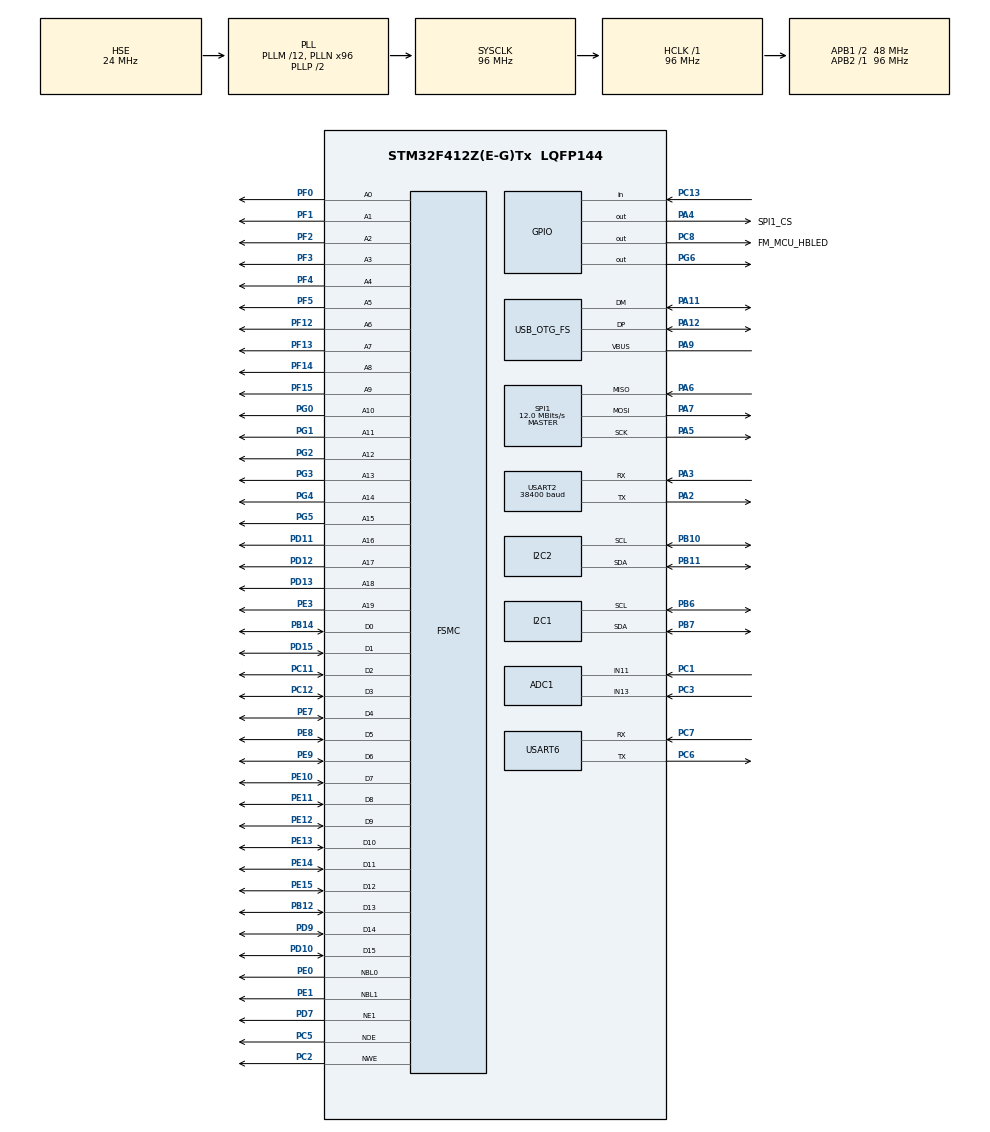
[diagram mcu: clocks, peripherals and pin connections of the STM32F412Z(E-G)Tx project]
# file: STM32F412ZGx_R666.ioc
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ADC1.Channel-0\#ChannelRegularConversion=ADC_CHANNEL_11
ADC1.NbrOfConversionFlag=1
ADC1.Rank-0\#ChannelRegularConversion=1
ADC1.SamplingTime-0\#ChannelRegularConversion=ADC_SAMPLETIME_3CYCLES
ADC1.master=1
FATFS._MAX_SS=4096
FATFS._MIN_SS=512
FATFS._USE_LFN=2
FATFS._VOLUMES=2
Mcu.Family=STM32F4
Mcu.Name=STM32F412Z(E-G)Tx
Mcu.Package=LQFP144
NVIC.OTG_FS_IRQn=true\:0\:0\:false\:false\:true\:false
NVIC.PriorityGroup=NVIC_PRIORITYGROUP_4
NVIC.TIM1_UP_TIM10_IRQn=true\:0\:0\:false\:false\:true\:false
NVIC.TIM3_IRQn=true\:0\:0\:false\:false\:true\:true
NVIC.TimeBase=TIM1_UP_TIM10_IRQn
NVIC.TimeBaseIP=TIM1
PA0.Mode=SYS_WakeUp0
PA0.Signal=SYS_WKUP1
PA11.Mode=Host_Only
PA11.Signal=USB_OTG_FS_DM
PA12.Mode=Host_Only
PA12.Signal=USB_OTG_FS_DP
PA13.Mode=Serial_Wire
PA13.Signal=SYS_JTMS-SWDIO
PA14.Mode=Serial_Wire
PA14.Signal=SYS_JTCK-SWCLK
PA2.Mode=Asynchronous
PA2.Signal=USART2_TX
PA3.Mode=Asynchronous
PA3.Signal=USART2_RX
PA4.GPIO_Label=SPI1_CS
PA4.PinState=GPIO_PIN_SET
PA4.Signal=GPIO_Output
PA5.Mode=Full_Duplex_Master
PA5.Signal=SPI1_SCK
PA6.Mode=Full_Duplex_Master
PA6.Signal=SPI1_MISO
PA7.Mode=Full_Duplex_Master
PA7.Signal=SPI1_MOSI
PA9.Mode=Activate_VBUS
PA9.Signal=USB_OTG_FS_VBUS
PB10.Mode=I2C
PB10.Signal=I2C2_SCL
PB11.Mode=I2C
PB11.Signal=I2C2_SDA
PB12.Signal=FSMC_D13_DA13
PB14.Signal=FSMC_D0_DA0
PB6.Mode=I2C
PB6.Signal=I2C1_SCL
PB7.Mode=I2C
PB7.Signal=I2C1_SDA
PC1.Signal=ADCx_IN11
PC11.Signal=FSMC_D2_DA2
PC12.Signal=FSMC_D3_DA3
PC13.Signal=GPIO_Input
PC14-OSC32_IN.Mode=LSE-External-Oscillator
PC14-OSC32_IN.Signal=RCC_OSC32_IN
PC15-OSC32_OUT.Mode=LSE-External-Oscillator
PC15-OSC32_OUT.Signal=RCC_OSC32_OUT
PC2.Signal=FSMC_NWE
PC3.Signal=ADCx_IN13
PC5.Signal=FSMC_NOE
PC6.Mode=Asynchronous
PC6.Signal=USART6_TX
PC7.Mode=Asynchronous
PC7.Signal=USART6_RX
PC8.GPIO_Label=FM_MCU_HBLED
PC8.Signal=GPIO_Output
PD10.Signal=FSMC_D15_DA15
PD11.Signal=FSMC_A16
PD12.Signal=FSMC_A17
PD13.Signal=FSMC_A18
PD15.Signal=FSMC_D1_DA1
PD7.Mode=NorPsramChipSelect1_1
PD7.Signal=FSMC_NE1
PD9.Signal=FSMC_D14_DA14
PE0.Signal=FSMC_NBL0
PE1.Signal=FSMC_NBL1
PE10.Signal=FSMC_D7_DA7
PE11.Signal=FSMC_D8_DA8
PE12.Signal=FSMC_D9_DA9
PE13.Signal=FSMC_D10_DA10
PE14.Signal=FSMC_D11_DA11
PE15.Signal=FSMC_D12_DA12
PE3.Signal=FSMC_A19
PE7.Signal=FSMC_D4_DA4
PE8.Signal=FSMC_D5_DA5
PE9.Signal=FSMC_D6_DA6
PF0.Signal=FSMC_A0
PF1.Signal=FSMC_A1
PF12.Signal=FSMC_A6
PF13.Signal=FSMC_A7
PF14.Signal=FSMC_A8
PF15.Signal=FSMC_A9
PF2.Signal=FSMC_A2
PF3.Signal=FSMC_A3
PF4.Signal=FSMC_A4
PF5.Signal=FSMC_A5
PG0.Signal=FSMC_A10
PG1.Signal=FSMC_A11
PG2.Signal=FSMC_A12
PG3.Signal=FSMC_A13
PG4.Signal=FSMC_A14
PG5.Signal=FSMC_A15
PG6.Signal=GPIO_Output
PH0\ -\ OSC_IN.Mode=HSE-External-Oscillator
PH0\ -\ OSC_IN.Signal=RCC_OSC_IN
PH1\ -\ OSC_OUT.Mode=HSE-External-Oscillator
PH1\ -\ OSC_OUT.Signal=RCC_OSC_OUT
ProjectManager.HeapSize=0x2000
ProjectManager.StackSize=0x2000
ProjectManager.TargetToolchain=SW4STM32
RCC.AHBFreq_Value=96000000
RCC.APB1CLKDivider=RCC_HCLK_DIV2
RCC.APB1Freq_Value=48000000
RCC.APB1TimFreq_Value=96000000
RCC.APB2Freq_Value=96000000
RCC.APB2TimFreq_Value=96000000
RCC.CortexFreq_Value=96000000
RCC.HCLKFreq_Value=96000000
RCC.HSE_VALUE=24000000
RCC.PLLI2SM=12
RCC.PLLI2SN=72
RCC.PLLI2SQ=3
RCC.PLLM=12
RCC.PLLN=96
RCC.PLLQ=4
RCC.PLLSourceVirtual=RCC_PLLSOURCE_HSE
RCC.RCC_RTC_Clock_Source=RCC_RTCCLKSOURCE_LSE
RCC.RCC_RTC_Clock_SourceVirtual=RCC_RTCCLKSOURCE_LSE
RCC.SYSCLKFreq_VALUE=96000000
RCC.SYSCLKSource=RCC_SYSCLKSOURCE_PLLCLK
RCC.USBCLockSelection=RCC_CLK48CLKSOURCE_PLLI2SQ
RCC.USBFreq_Value=48000000
RCC.VCOOutputFreq_Value=192000000
RTC.Date=5
RTC.Hours=17
RTC.Month=RTC_MONTH_FEBRUARY
RTC.WeekDay=RTC_WEEKDAY_WEDNESDAY
RTC.Year=20
SH.ADCx_IN11.0=ADC1_IN11,IN11
SH.ADCx_IN13.0=ADC1_IN13,IN13
SH.FSMC_A0.0=FSMC_A0,20b-a1
SH.FSMC_A1.0=FSMC_A1,20b-a1
SH.FSMC_A10.0=FSMC_A10,20b-a1
SH.FSMC_A11.0=FSMC_A11,20b-a1
SH.FSMC_A12.0=FSMC_A12,20b-a1
SH.FSMC_A13.0=FSMC_A13,20b-a1
SH.FSMC_A14.0=FSMC_A14,20b-a1
SH.FSMC_A15.0=FSMC_A15,20b-a1
SH.FSMC_A16.0=FSMC_A16,20b-a1
SH.FSMC_A17.0=FSMC_A17,20b-a1
SH.FSMC_A18.0=FSMC_A18,20b-a1
SH.FSMC_A19.0=FSMC_A19,20b-a1
SH.FSMC_A2.0=FSMC_A2,20b-a1
SH.FSMC_A3.0=FSMC_A3,20b-a1
SH.FSMC_A4.0=FSMC_A4,20b-a1
SH.FSMC_A5.0=FSMC_A5,20b-a1
SH.FSMC_A6.0=FSMC_A6,20b-a1
SH.FSMC_A7.0=FSMC_A7,20b-a1
SH.FSMC_A8.0=FSMC_A8,20b-a1
SH.FSMC_A9.0=FSMC_A9,20b-a1
SH.FSMC_D0_DA0.0=FSMC_D0,16b-d1
SH.FSMC_D10_DA10.0=FSMC_D10,16b-d1
SH.FSMC_D11_DA11.0=FSMC_D11,16b-d1
SH.FSMC_D12_DA12.0=FSMC_D12,16b-d1
SH.FSMC_D13_DA13.0=FSMC_D13,16b-d1
SH.FSMC_D14_DA14.0=FSMC_D14,16b-d1
SH.FSMC_D15_DA15.0=FSMC_D15,16b-d1
SH.FSMC_D1_DA1.0=FSMC_D1,16b-d1
SH.FSMC_D2_DA2.0=FSMC_D2,16b-d1
SH.FSMC_D3_DA3.0=FSMC_D3,16b-d1
SH.FSMC_D4_DA4.0=FSMC_D4,16b-d1
SH.FSMC_D5_DA5.0=FSMC_D5,16b-d1
SH.FSMC_D6_DA6.0=FSMC_D6,16b-d1
SH.FSMC_D7_DA7.0=FSMC_D7,16b-d1
SH.FSMC_D8_DA8.0=FSMC_D8,16b-d1
SH.FSMC_D9_DA9.0=FSMC_D9,16b-d1
SH.FSMC_NBL0.0=FSMC_NBL0,2ByteEnable1
SH.FSMC_NBL1.0=FSMC_NBL1,2ByteEnable1
SH.FSMC_NOE.0=FSMC_NOE,Sram1
SH.FSMC_NWE.0=FSMC_NWE,Sram1
SPI1.BaudRatePrescaler=SPI_BAUDRATEPRESCALER_8
SPI1.CalculateBaudRate=12.0 MBits/s
SPI1.Direction=SPI_DIRECTION_2LINES
SPI1.Mode=SPI_MODE_MASTER
SPI1.VirtualType=VM_MASTER
TIM3.Period=300-1
TIM3.Prescaler=32000-1
USART2.BaudRate=38400
USART2.OverSampling=UART_OVERSAMPLING_8
USART2.VirtualMode=VM_ASYNC
USART6.VirtualMode=VM_ASYNC
USB_HOST.BSP.number=1
USB_HOST.USBH_HandleTypeDef=hUsbHostFS
USB_HOST.USBH_MAX_DATA_BUFFER=2048
USB_HOST.VirtualModeFS=Msc
USB_HOST0.BSP.STBoard=false
USB_HOST0.BSP.api=UnknownBspDriver
USB_HOST0.BSP.i2caddr=0
USB_HOST0.BSP.i2creg=0
USB_HOST0.BSP.instance=PG6
USB_HOST0.BSP.ip=GPIO
USB_HOST0.BSP.mode=Output
USB_HOST0.BSP.name=Drive_VBUS_FS
USB_HOST0.BSP.solution=PG6
USB_OTG_FS.Sof_enable=DISABLE
USB_OTG_FS.VirtualMode=Host_Only
USB_OTG_FS.dma_enable=DISABLE
USB_OTG_FS.phy_itface=HCD_PHY_EMBEDDED
VP_FATFS_VS_USB.Mode=USB
VP_RTC_VS_RTC_Activate.Mode=RTC_Enabled
VP_RTC_VS_RTC_Calendar.Mode=RTC_Calendar
VP_SYS_VS_tim1.Mode=TIM1
VP_TIM3_VS_ClockSourceINT.Mode=Internal
VP_USB_HOST_VS_USB_HOST_MSC_FS.Mode=MSC_FS
board=STM32F412ZGx_R666

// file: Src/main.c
/**
  ******************************************************************************
  * @file           : main.c
  * @brief          : Main program body
  ******************************************************************************
  * This notice applies to any and all portions of this file
  * that are not between comment pairs USER CODE BEGIN and
  * USER CODE END. Other portions of this file, whether
  * inserted by the user or by software development tools
  * are owned by their respective copyright owners.
  *
  * Copyright (c) 2020 STMicroelectronics International N.V.
  * All rights reserved.
  *
  * Redistribution and use in source and binary forms, with or without
  * modification, are permitted, provided that the following conditions are met:
  *
  * 1. Redistribution of source code must retain the above copyright notice,
  *    this list of conditions and the following disclaimer.
  * 2. Redistributions in binary form must reproduce the above copyright notice,
  *    this list of conditions and the following disclaimer in the documentation
  *    and/or other materials provided with the distribution.
  * 3. Neither the name of STMicroelectronics nor the names of other
  *    contributors to this software may be used to endorse or promote products
  *    derived from this software without specific written permission.
  * 4. This software, including modifications and/or derivative works of this
  *    software, must execute solely and exclusively on microcontroller or
  *    microprocessor devices manufactured by or for STMicroelectronics.
  * 5. Redistribution and use of this software other than as permitted under
  *    this license is void and will automatically terminate your rights under
  *    this license.
  *
  * THIS SOFTWARE IS PROVIDED BY STMICROELECTRONICS AND CONTRIBUTORS "AS IS"
  * AND ANY EXPRESS, IMPLIED OR STATUTORY WARRANTIES, INCLUDING, BUT NOT
  * LIMITED TO, THE IMPLIED WARRANTIES OF MERCHANTABILITY, FITNESS FOR A
  * PARTICULAR PURPOSE AND NON-INFRINGEMENT OF THIRD PARTY INTELLECTUAL PROPERTY
  * RIGHTS ARE DISCLAIMED TO THE FULLEST EXTENT PERMITTED BY LAW. IN NO EVENT
  * SHALL STMICROELECTRONICS OR CONTRIBUTORS BE LIABLE FOR ANY DIRECT, INDIRECT,
  * INCIDENTAL, SPECIAL, EXEMPLARY, OR CONSEQUENTIAL DAMAGES (INCLUDING, BUT NOT
  * LIMITED TO, PROCUREMENT OF SUBSTITUTE GOODS OR SERVICES; LOSS OF USE, DATA,
  * OR PROFITS; OR BUSINESS INTERRUPTION) HOWEVER CAUSED AND ON ANY THEORY OF
  * LIABILITY, WHETHER IN CONTRACT, STRICT LIABILITY, OR TORT (INCLUDING
  * NEGLIGENCE OR OTHERWISE) ARISING IN ANY WAY OUT OF THE USE OF THIS SOFTWARE,
  * EVEN IF ADVISED OF THE POSSIBILITY OF SUCH DAMAGE.
  *
  ******************************************************************************
  */
#include "main.h"
#include "stm32f4xx_hal.h"
#include "adc.h"
#include "fatfs.h"
#include "i2c.h"
#include "rtc.h"
#include "spi.h"
#include "tim.h"
#include "usart.h"
#include "usb_host.h"
#include "gpio.h"
#include "fsmc.h"

/* USER CODE BEGIN Includes */
#include <stdarg.h>
/* USER CODE END Includes */

/* USER CODE BEGIN PV */

/* Private define  ---------------------------------------------------------*/

/* Private variables ---------------------------------------------------------*/
extern ApplicationTypeDef Appli_state;
extern volatile unsigned char time_states;

//---------------
// FPGA variables
//---------------
const uint8_t fpga_key[FPGA_KEY_SIZE] = {'A','E','W','I','N','1','6','8'};

uint8_t fpga_spi_switch = FPGA_SPI_SWITCH_OFF;
uint8_t fpga_spi_mode = FLASH_NONE;
uint8_t fpga_key_readback[FPGA_KEY_SIZE];
uint8_t fpga_info[FPGA_INFO_SIZE];
uint8_t fpga_busy_status[FPGA_BUSY_STATUS_SIZE];
uint8_t fpga_timer_switch = FPGA_TIMER_DISABLE;

//---------------
// USB variables
//---------------
uint8_t usb_read_flag = 0;    // flag to mark whether or not USB disk has been read

// information read from aewin_file.txt
uint8_t usb_cmd_code = USB_CMD_NONE;
uint8_t usb_cmd_flash_num = FLASH_NONE;
uint8_t usb_cmd_ima_filename[IMA_FILENAME_LEN_LIMIT];
uint8_t usb_cmd_re_read_flash = RE_READ_FLASH_OFF;
uint8_t usb_cmd_rtc_update[MCU_RTC_INFO_SIZE];

uint8_t usb_err_code = USB_ERR_NONE;

uint8_t backup_flag[2] = {RE_READ_FLASH_OFF, RE_READ_FLASH_OFF};

//---------------
// USB timeout variables
//---------------
extern volatile unsigned char timeout_counter;
extern unsigned char timeout_counter_switch;

//---------------
// RTC variables
//---------------
RTC_TimeTypeDef RTC_Time;
RTC_DateTypeDef RTC_Date;
uint8_t RTC_bin_format[FPGA_TIMER_SIZE] = {0};

#if AEWIN_DBUG
char dbg_buff[PRINT_BUFF];
#endif
/* USER CODE END PV */

void SystemClock_Config(void);
void MX_USB_HOST_Process(void);

/* USER CODE BEGIN PFP */
/* Private function prototypes -----------------------------------------------*/

/* USER CODE END PFP */

int main(void)
{

  /* MCU Configuration----------------------------------------------------------*/

  /* Reset of all peripherals, Initializes the Flash interface and the Systick. */
  HAL_Init();

  /* Configure the system clock */
  SystemClock_Config();

  /* Initialize all configured peripherals */
  MX_GPIO_Init();
  MX_ADC1_Init();
  MX_I2C1_Init();
  MX_I2C2_Init();
  MX_RTC_Init();
  MX_SPI1_Init();
  MX_USART2_UART_Init();
  MX_USART6_UART_Init();
  MX_USB_HOST_Init();
  MX_FATFS_Init();
  MX_FSMC_Init();
  MX_TIM3_Init();
  /* USER CODE BEGIN 2 */

	aewin_dbg("================\r\n");
	aewin_dbg("  R666 booting  \r\n");
	aewin_dbg("================\r\n");

	// print MCU firmware version
	aewin_dbg("MCU version: %d.%d.%d\r\n", VER_MAJOR, VER_MINOR, VER_PATCH);

	// print booting date and time
	HAL_RTC_GetTime(&hrtc, &RTC_Time, RTC_FORMAT_BCD);
	HAL_RTC_GetDate(&hrtc, &RTC_Date, RTC_FORMAT_BCD);
	aewin_dbg("RTC : 20%02x.%02x.%02x - %02x:%02x:%02x\r\n", RTC_Date.Year, RTC_Date.Month, RTC_Date.Date, RTC_Time.Hours, RTC_Time.Minutes, RTC_Time.Seconds);
	aewin_dbg("--------------------\r\n");

	aewin_dbg("Unlock FPGA.\r\n");
	//--------------------------------
	// Unlock FPGA key
	i2c2_fpga_write(FPGA_KEY_BASE_ADDR, FPGA_KEY_SIZE, (uint8_t*)fpga_key);

	// Read FPGA key
	i2c2_fpga_read(FPGA_KEY_BASE_ADDR, FPGA_KEY_SIZE, (uint8_t*)fpga_key_readback);

	aewin_dbg("Read FPGA information.\r\n");
	// Read FPGA information - version and time
	i2c2_fpga_read(FPGA_INFO_BASE_ADDR, FPGA_INFO_SIZE, (uint8_t*)fpga_info);
	aewin_dbg("FPGA version    : %d.%d.%d\r\n", fpga_info[0], fpga_info[1], fpga_info[2]);
	aewin_dbg("FPGA build date : 20%02d.%02d.%02d\r\n", fpga_info[5], fpga_info[4], fpga_info[3]);

	// Read FPGA Busy byte and status1 byte
	i2c2_fpga_read(FPGA_BUSY_STATUS_BASE_ADDR, FPGA_BUSY_STATUS_SIZE, (uint8_t*)fpga_busy_status);
	aewin_dbg("FPGA busy bit   : %x\r\n", fpga_busy_status[4]);
	aewin_dbg("FPGA busy status: %x %x %x\r\n", fpga_busy_status[7], fpga_busy_status[6], fpga_busy_status[5]);

	// check FPGA information. If all byte are abnormal, output error code
	if((fpga_info[5] == FPGA_DEFULT_RETURN_VALUE) && (fpga_info[6] == FPGA_DEFULT_RETURN_VALUE) && (fpga_info[7] == FPGA_DEFULT_RETURN_VALUE))
	{
		// user can not distinguish this is I2C2 failed or FPGA unlock failed.
		usb_err_code = USB_FPGA_RW_FAILED;
		aewin_dbg("Access FPGA failed.\r\n");
	}

	//--------------------------------
	// set RTC time to FPGA
	// enable FPGA SPI
	fpga_timer_switch = FPGA_TIMER_ENABLE;
	i2c2_fpga_write(FPGA_TIMER_SWITCH_ADDR, FPGA_TIMER_SWITCH_SIZE, &(fpga_timer_switch));
	aewin_dbg("Enable FPGA timer.\r\n");

	// write MCU RTC time to FPGA
	RTC_bin_format[0] = bcd2bin_byte(RTC_Time.Seconds);
	RTC_bin_format[1] = bcd2bin_byte(RTC_Time.Minutes);
	RTC_bin_format[2] = bcd2bin_byte(RTC_Time.Hours);
	RTC_bin_format[3] = bcd2bin_byte(RTC_Date.Date);
	RTC_bin_format[4] = bcd2bin_byte(RTC_Date.Month);
	RTC_bin_format[5] = bcd2bin_byte(RTC_Date.Year);
	i2c2_fpga_write(FPGA_TIMER_BASE_ADDR, FPGA_TIMER_SIZE, (uint8_t*)RTC_bin_format);
	aewin_dbg("Set RTC time to FPGA timer : 20%02d.%02d.%02d - %02d:%02d:%02d\r\n", \
			RTC_bin_format[5],RTC_bin_format[4], RTC_bin_format[3], RTC_bin_format[2], RTC_bin_format[1], RTC_bin_format[0]);

	// enable FPGA SPI
	fpga_timer_switch = FPGA_TIMER_DISABLE;
	i2c2_fpga_write(FPGA_TIMER_SWITCH_ADDR, FPGA_TIMER_SWITCH_SIZE, &(fpga_timer_switch));
	aewin_dbg("Disable FPGA timer.\r\n");
	//--------------------------------

  /*Start the TIM Base generation in interrupt mode ####################*/
    HAL_TIM_Base_Start_IT(&htim3);
  /* USER CODE END 2 */

  /* Infinite loop */
  /* USER CODE BEGIN WHILE */
    aewin_dbg("===== Enter while loop =====\r\n");
  while (1)
  {

  /* USER CODE END WHILE */
    MX_USB_HOST_Process();

  /* USER CODE BEGIN 3 */
    // set PG6 high
    //HAL_GPIO_WritePin(GPIOG, GPIO_PIN_6, GPIO_PIN_SET);

    //----------------------------------------------------------
	/*================== 1s Routine ================== */
	if (time_states & flag_1s){
		time_states &= ~flag_1s; // Clear flag.

		if(Appli_state == APPLICATION_READY)
		{
			// check FPGA busy status
			// Read FPGA Busy byte and status1 byte
			i2c2_fpga_read(FPGA_BUSY_STATUS_BASE_ADDR, FPGA_BUSY_STATUS_SIZE, (uint8_t*)fpga_busy_status);
		}

		// print RTC time
		HAL_RTC_GetTime(&hrtc, &RTC_Time, RTC_FORMAT_BCD);
		HAL_RTC_GetDate(&hrtc, &RTC_Date, RTC_FORMAT_BCD);
		aewin_dbg("RTC : 20%02x.%02x.%02x - %02x:%02x:%02x\r\n", \
				RTC_Date.Year, RTC_Date.Month, RTC_Date.Date, RTC_Time.Hours, RTC_Time.Minutes, RTC_Time.Seconds);
		aewin_dbg("----------------------------\r\n");
	}

	/*================== 500ms Routine ================== */
	if (time_states & flag_500ms){
		time_states &= ~flag_500ms; // Clear flag.
	}

	/*================== 500ms Routine ================== */
	if (time_states & flag_100ms){
		time_states &= ~flag_100ms; // Clear flag.

		// [debug]
		HAL_GPIO_TogglePin(FM_MCU_HBLED_GPIO_Port, FM_MCU_HBLED_Pin);
	}
    //-----------------------------------------------------------------------------------------------

	// Check USB status and do file operations only if aewin_file.txt in USB disk haven't been read
    if(usb_read_flag == 0)
    {
    	if(Appli_state == APPLICATION_READY)
		{
    		//[remove]
    		// reset timeout_counter
    		timeout_counter = 0;
    		timeout_counter_switch = 0;

    		// check if FPGA is not busy - verify fpga_busy_status value(Busy and TPCM)
			if( (fpga_busy_status[0] == 0) && (fpga_busy_status[1] == 0) )
			{
				usb_read_flag = 1;

				// read aewin_file.txt to check user command code
				USB_MSC_File_Operations(USB_EXE_READ_CMD);
				fpga_spi_mode = usb_cmd_flash_num;

				// [debug] - specify user command code
				//usb_cmd_code = USB_CMD_READ_LOG;

				switch(usb_cmd_code)
				{
					case USB_CMD_NONE:
						//none
						break;

					case USB_CMD_READ_LOG:
						aewin_dbg("Get command: Read log from FPGA.\r\n");
						USB_MSC_File_Operations(USB_CMD_READ_LOG);

						// read flash data to USB disk
						if(usb_cmd_re_read_flash == RE_READ_FLASH_ON)
						{
							if(backup_flag[BACKUP_FLAG_BIOS] == RE_READ_FLASH_ON)
							{
								// select target flash
								fpga_spi_mode = FLASH_BIOS_BACKUP;
								i2c2_fpga_write(FPGA_SPI_MODE_ADDR, FPGA_SPI_MODE_SIZE, &(fpga_spi_mode));
								aewin_dbg("Select flash %d for reading.\r\n", fpga_spi_mode);

								// enable FPGA SPI
								fpga_spi_switch = FPGA_SPI_SWITCH_ON;
								i2c2_fpga_write(FPGA_SPI_SWITCH_ADDR, FPGA_SPI_SWITCH_SIZE, &(fpga_spi_switch));
								aewin_dbg("Enable FPGA SPI.\r\n");

								// read flash
								usb_cmd_flash_num = FLASH_BIOS_BACKUP;
								USB_MSC_File_Operations(USB_CMD_READ_FLASH);
							}
							if(backup_flag[BACKUP_FLAG_BMC] == RE_READ_FLASH_ON)
							{
								// select target flash
								fpga_spi_mode = FLASH_BMC_BACKUP;
								i2c2_fpga_write(FPGA_SPI_MODE_ADDR, FPGA_SPI_MODE_SIZE, &(fpga_spi_mode));
								aewin_dbg("Select flash %d for reading.\r\n", fpga_spi_mode);

								// enable FPGA SPI
								fpga_spi_switch = FPGA_SPI_SWITCH_ON;
								i2c2_fpga_write(FPGA_SPI_SWITCH_ADDR, FPGA_SPI_SWITCH_SIZE, &(fpga_spi_switch));
								aewin_dbg("Enable FPGA SPI.\r\n");

								// read flash
								usb_cmd_flash_num = FLASH_BMC_BACKUP;
								USB_MSC_File_Operations(USB_CMD_READ_FLASH);
							}

							// disable FPGA SPI
							fpga_spi_switch = FPGA_SPI_SWITCH_OFF;
							i2c2_fpga_write(FPGA_SPI_SWITCH_ADDR, FPGA_SPI_SWITCH_SIZE, &(fpga_spi_switch));
							aewin_dbg("Disable FPGA SPI.\r\n");

							// de-select target flash
							fpga_spi_mode = FLASH_NONE;
							i2c2_fpga_write(FPGA_SPI_MODE_ADDR, FPGA_SPI_MODE_SIZE, &(fpga_spi_mode));
							aewin_dbg("Select flash back to 0.\r\n", fpga_spi_mode);
						}

						break;

					case USB_CMD_UPDATE_IMA:
						aewin_dbg("Get command: Update flash.\r\n");
						aewin_dbg("ima file name: %s\r\n", usb_cmd_ima_filename);

						// check flash number
						if(fpga_spi_mode > FLASH_NUM)
						{
							// flash number is out of range, stopping execute user command
							aewin_dbg("Flash number %d is not exist, please try number 1~4.\r\n", fpga_spi_mode);
							usb_err_code = USB_ERR_FLASH_NOT_EXIST;
							break;
						}

						// check ima file name
						if(usb_cmd_ima_filename[FILE_PATH_HEAD_LEN + 1] == '\0')
						{
							aewin_dbg("The .ima file name not exist.\r\n");
							usb_err_code = USB_ERR_IMA_NOT_EXIST;
							break;
						}

						// enable FPGA SPI
						fpga_spi_switch = FPGA_SPI_SWITCH_ON;
						i2c2_fpga_write(FPGA_SPI_SWITCH_ADDR, FPGA_SPI_SWITCH_SIZE, &(fpga_spi_switch));
						aewin_dbg("Enable FPGA SPI.\r\n");

						// select target flash
						i2c2_fpga_write(FPGA_SPI_MODE_ADDR, FPGA_SPI_MODE_SIZE, &(fpga_spi_mode));
						aewin_dbg("Select flash %d for update.\r\n", fpga_spi_mode);

						// update flash - write .ima file to flash
						USB_MSC_File_Operations(USB_CMD_UPDATE_IMA);

						// disable FPGA SPI
						fpga_spi_switch = FPGA_SPI_SWITCH_OFF;
						i2c2_fpga_write(FPGA_SPI_SWITCH_ADDR, FPGA_SPI_SWITCH_SIZE, &(fpga_spi_switch));
						aewin_dbg("Disable FPGA SPI.\r\n");

						// de-select target flash
						fpga_spi_mode = FLASH_NONE;
						i2c2_fpga_write(FPGA_SPI_MODE_ADDR, FPGA_SPI_MODE_SIZE, &(fpga_spi_mode));
						aewin_dbg("Select flash back to 0.\r\n", fpga_spi_mode);

						break;

					case USB_CMD_READ_FLASH:
						aewin_dbg("Get command: Read flash data.\r\n");

						// check flash number
						if(fpga_spi_mode > FLASH_NUM)
						{
							// flash number is out of range, stopping execute user command
							aewin_dbg("Flash number %d is out of range, please try number 1~4.\r\n", fpga_spi_mode);
							usb_err_code = USB_ERR_FLASH_NOT_EXIST;
							break;
						}

						// select target flash
						i2c2_fpga_write(FPGA_SPI_MODE_ADDR, FPGA_SPI_MODE_SIZE, &(fpga_spi_mode));
						aewin_dbg("Select flash %d for reading.\r\n", fpga_spi_mode);

						// enable FPGA SPI
						fpga_spi_switch = FPGA_SPI_SWITCH_ON;
						i2c2_fpga_write(FPGA_SPI_SWITCH_ADDR, FPGA_SPI_SWITCH_SIZE, &(fpga_spi_switch));
						aewin_dbg("Enable FPGA SPI.\r\n");

						// read flash
						USB_MSC_File_Operations(USB_CMD_READ_FLASH);

						// disable FPGA SPI
						fpga_spi_switch = FPGA_SPI_SWITCH_OFF;
						i2c2_fpga_write(FPGA_SPI_SWITCH_ADDR, FPGA_SPI_SWITCH_SIZE, &(fpga_spi_switch));
						aewin_dbg("Disable FPGA SPI.\r\n");

						// de-select target flash
						fpga_spi_mode = FLASH_NONE;
						i2c2_fpga_write(FPGA_SPI_MODE_ADDR, FPGA_SPI_MODE_SIZE, &(fpga_spi_mode));
						aewin_dbg("Select flash back to 0.\r\n", fpga_spi_mode);

						break;

					case USB_CMD_UPDATE_RTC:
						aewin_dbg("Get command: Update RTC date and time.\r\n");

						if( usb_cmd_rtc_update[MCU_RTC_UPDATE_EN] == RTC_UPDATE_ENABLE)
						{
							RTC_Date.Year = usb_cmd_rtc_update[MCU_RTC_YEAR];
							RTC_Date.Month = usb_cmd_rtc_update[MCU_RTC_MONTH];
							RTC_Date.Date = usb_cmd_rtc_update[MCU_RTC_DAY];
							RTC_Time.Hours = usb_cmd_rtc_update[MCU_RTC_HOUR];
							RTC_Time.Minutes = usb_cmd_rtc_update[MCU_RTC_MINUTE];
							RTC_Time.Seconds = usb_cmd_rtc_update[MCU_RTC_SECOND];

							HAL_RTC_SetTime(&hrtc, &RTC_Time, RTC_FORMAT_BIN);
							HAL_RTC_SetDate(&hrtc, &RTC_Date, RTC_FORMAT_BIN);
						}
						else
						{
							aewin_dbg("Time format is not correct.\r\n");
						}

						break;

					//------------------------------
					// below are test command
					//------------------------------

					case USB_CMD_TEST_RW:
						aewin_dbg("Get command: Test read/writ function.\r\n");
						USB_MSC_File_Operations(USB_CMD_TEST_RW);

						break;

					default:
						usb_err_code = USB_ERR_CMD_NOT_EXIST;
						aewin_dbg("!! This command is not exist!\r\n");

						break;
				}
			}

			// output error code
			if(usb_err_code != USB_ERR_NONE)
			{
				USB_MSC_File_Operations(USB_EXE_ERROR_REPORT);
				// [note] - print error massage
			}
		}
    	else
    	{
    		//[Note]
			// add start timer
			if(timeout_counter_switch == 1)
			{
				// add timeout handler, usb re-init and init
				//aewin_dbg("USB timeout_counter: %d! \r\n", timeout_counter);
				if(timeout_counter > USB_TIMEOUT_LIMIT)
				{
					aewin_dbg("USB timeout! software reset.\r\n");
					//HAL_TIM_Base_Stop_IT(&htim3);
					//MX_USB_HOST_Init();
					//MX_FATFS_Init();
					NVIC_SystemReset();
					//USBH_LL_DeInit(&hUsbHostFS);
					//USBH_LL_Init(&hUsbHostFS);
					//USBH_ReEnumerate(&hUsbHostFS);
					//HAL_TIM_Base_Start_IT(&htim3);
					//aewin_dbg("Reset USB_HOST finished.\r\n");

					// reset timeout counter
					timeout_counter_switch = 0;
					timeout_counter = 0;
				}
			}
    	}
    }
    else if(Appli_state == APPLICATION_DISCONNECT)
	{
		// when USB disconnect, clear read flag
    	if(usb_read_flag == 1)
		{
			usb_read_flag = 0;

			// reset timeout counter
			timeout_counter_switch = 0;
			timeout_counter = 0;

			// reset user command
			usb_cmd_code = USB_CMD_NONE;
			usb_cmd_flash_num = FLASH_NONE;
			memset(usb_cmd_ima_filename , '\0', sizeof(usb_cmd_ima_filename));
			usb_cmd_re_read_flash = RE_READ_FLASH_OFF;
			usb_err_code = USB_ERR_NONE;
			backup_flag[0] = RE_READ_FLASH_OFF;
			backup_flag[1] = RE_READ_FLASH_OFF;
		}
	}

  }
  /* USER CODE END 3 */

}

void SystemClock_Config(void)
{

  RCC_OscInitTypeDef RCC_OscInitStruct;
  RCC_ClkInitTypeDef RCC_ClkInitStruct;
  RCC_PeriphCLKInitTypeDef PeriphClkInitStruct;

    /**Configure the main internal regulator output voltage
    */
  __HAL_RCC_PWR_CLK_ENABLE();

  __HAL_PWR_VOLTAGESCALING_CONFIG(PWR_REGULATOR_VOLTAGE_SCALE1);

    /**Initializes the CPU, AHB and APB busses clocks
    */
  RCC_OscInitStruct.OscillatorType = RCC_OSCILLATORTYPE_HSE|RCC_OSCILLATORTYPE_LSE;
  RCC_OscInitStruct.HSEState = RCC_HSE_ON;
  RCC_OscInitStruct.LSEState = RCC_LSE_ON;
  RCC_OscInitStruct.PLL.PLLState = RCC_PLL_ON;
  RCC_OscInitStruct.PLL.PLLSource = RCC_PLLSOURCE_HSE;
  RCC_OscInitStruct.PLL.PLLM = 12;
  RCC_OscInitStruct.PLL.PLLN = 96;
  RCC_OscInitStruct.PLL.PLLP = RCC_PLLP_DIV2;
  RCC_OscInitStruct.PLL.PLLQ = 4;
  RCC_OscInitStruct.PLL.PLLR = 2;
  if (HAL_RCC_OscConfig(&RCC_OscInitStruct) != HAL_OK)
  {
    _Error_Handler(__FILE__, __LINE__);
  }

    /**Initializes the CPU, AHB and APB busses clocks
    */
  RCC_ClkInitStruct.ClockType = RCC_CLOCKTYPE_HCLK|RCC_CLOCKTYPE_SYSCLK
                              |RCC_CLOCKTYPE_PCLK1|RCC_CLOCKTYPE_PCLK2;
  RCC_ClkInitStruct.SYSCLKSource = RCC_SYSCLKSOURCE_PLLCLK;
  RCC_ClkInitStruct.AHBCLKDivider = RCC_SYSCLK_DIV1;
  RCC_ClkInitStruct.APB1CLKDivider = RCC_HCLK_DIV2;
  RCC_ClkInitStruct.APB2CLKDivider = RCC_HCLK_DIV1;

  if (HAL_RCC_ClockConfig(&RCC_ClkInitStruct, FLASH_LATENCY_3) != HAL_OK)
  {
    _Error_Handler(__FILE__, __LINE__);
  }

  PeriphClkInitStruct.PeriphClockSelection = RCC_PERIPHCLK_RTC|RCC_PERIPHCLK_CLK48;
  PeriphClkInitStruct.PLLI2S.PLLI2SN = 72;
  PeriphClkInitStruct.PLLI2S.PLLI2SM = 12;
  PeriphClkInitStruct.PLLI2S.PLLI2SR = 2;
  PeriphClkInitStruct.PLLI2S.PLLI2SQ = 3;
  PeriphClkInitStruct.RTCClockSelection = RCC_RTCCLKSOURCE_LSE;
  PeriphClkInitStruct.Clk48ClockSelection = RCC_CLK48CLKSOURCE_PLLI2SQ;
  PeriphClkInitStruct.PLLI2SSelection = RCC_PLLI2SCLKSOURCE_PLLSRC;
  if (HAL_RCCEx_PeriphCLKConfig(&PeriphClkInitStruct) != HAL_OK)
  {
    _Error_Handler(__FILE__, __LINE__);
  }

    /**Configure the Systick interrupt time
    */
  HAL_SYSTICK_Config(HAL_RCC_GetHCLKFreq()/1000);

    /**Configure the Systick
    */
  HAL_SYSTICK_CLKSourceConfig(SYSTICK_CLKSOURCE_HCLK);

  /* SysTick_IRQn interrupt configuration */
  HAL_NVIC_SetPriority(SysTick_IRQn, 0, 0);
}

/* USER CODE BEGIN 4 */
void aewin_dbg(char *fmt,...){
	int i = 0;
	static va_list arg_ptr;
	va_start (arg_ptr, fmt);
	vsnprintf(dbg_buff, PRINT_BUFF, fmt, arg_ptr);
	while(i < (PRINT_BUFF - 1) && dbg_buff[i]){
		//if (HAL_UART_Transmit_DMA(&huart2, (uint8_t*)&dbg_buff[i], 1) == HAL_OK){
		if (HAL_UART_Transmit(&huart2, (uint8_t*)&dbg_buff[i], 1, 5000) == HAL_OK){
			i++;
		}
	}
	va_end(arg_ptr);
}

void i2c2_fpga_write(char base_addr, char data_len, char *pData)
{
	char local_index;
	char write_buffer[2];

	for(local_index = 0; local_index < data_len; local_index++)
	{
		write_buffer[0] = base_addr + local_index;
		write_buffer[1] = pData[local_index];
		if(HAL_I2C_Master_Transmit(&hi2c2, (uint16_t)I2C2_FPGA_ADDR, (uint8_t*)write_buffer, 2, 10000) != HAL_OK)
		{
			usb_err_code = USB_FPGA_RW_FAILED;
			return;
		}
	}
}

void i2c2_fpga_read(char base_addr, char data_len, char *pData)
{
	char local_index;
	char fpga_read_addr;
	char read_buffer;

	for(local_index = 0; local_index < data_len; local_index++)
	{
		fpga_read_addr = base_addr + local_index;
		if(HAL_I2C_Master_Transmit(&hi2c2, (uint16_t)I2C2_FPGA_ADDR, &(fpga_read_addr), 1, 10000) != HAL_OK)
		{
			usb_err_code = USB_FPGA_RW_FAILED;
			return;
		}

		if(HAL_I2C_Master_Receive(&hi2c2, (uint16_t)I2C2_FPGA_ADDR, &(read_buffer), 1, 10000) != HAL_OK)
		{
			usb_err_code = USB_FPGA_RW_FAILED;
			return;
		}
		pData[local_index] = read_buffer;
	}

}

unsigned char bcd2bin_byte(unsigned char bcd_num)
{
	return ((bcd_num & 0xF0)>>4)*10 + (bcd_num & 0x0F);
}
/* USER CODE END 4 */

void HAL_TIM_PeriodElapsedCallback(TIM_HandleTypeDef *htim)
{
  if (htim->Instance == TIM1) {
    HAL_IncTick();
  }
}

void _Error_Handler(char *file, int line)
{
  while(1)
  {
  }
}

/************************ (C) COPYRIGHT STMicroelectronics *****END OF FILE****/
